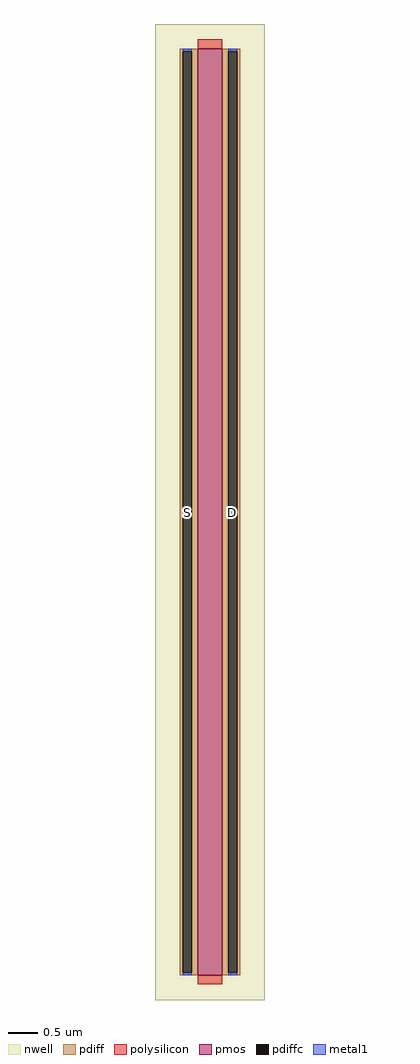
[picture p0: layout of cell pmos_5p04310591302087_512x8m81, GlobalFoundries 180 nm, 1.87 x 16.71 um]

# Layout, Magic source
magic
tech gf180mcuD
magscale 1 10
<< nwell >>
rect -145 -84 229 3259
<< pmos >>
rect 0 0 84 3175
<< pdiff >>
rect -61 3166 0 3175
rect -61 9 -52 3166
rect -20 9 0 3166
rect -61 0 0 9
rect 84 3166 145 3175
rect 84 9 104 3166
rect 136 9 145 3166
rect 84 0 145 9
<< pdiffc >>
rect -52 9 -20 3166
rect 104 9 136 3166
<< polysilicon >>
rect 0 3175 84 3206
rect 0 -30 84 0
<< metal1 >>
rect -52 3166 -20 3175
rect -52 0 -20 9
rect 104 3166 136 3175
rect 104 0 136 9
<< labels >>
flabel pdiffc -36 1587 -36 1587 0 FreeSans 280 0 0 0 S
flabel pdiffc 120 1587 120 1587 0 FreeSans 280 0 0 0 D
<< end >>
